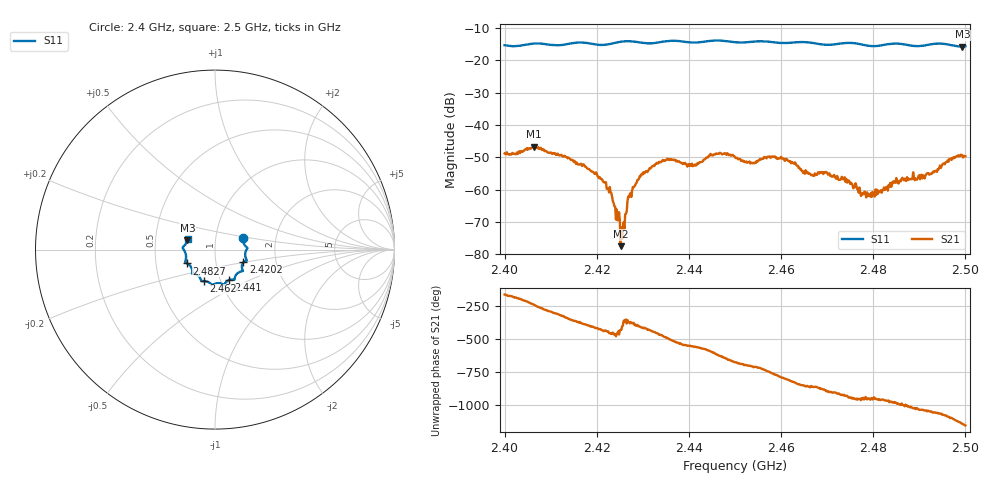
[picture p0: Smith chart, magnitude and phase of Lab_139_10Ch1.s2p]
# Hz S RI R 50
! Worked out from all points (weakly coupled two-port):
!   601 points, 2.4 GHz to 2.5 GHz, reference 50 ohm
!   highest |S21| = -46.79 dB at 2.4063 GHz (marker M1); lowest = -77.5 dB at 2.4252 GHz (marker M2)
!   lowest |S11| = -15.8 dB at 2.4993 GHz (marker M3), VSWR 1.39, Z = 36.5 + j3.84 ohm
!   |S11| at or under -10 dB: start of sweep to end of sweep
!   S12 and S22 are empty: the file has one direction only
!   S11 on the Smith chart (normalised r, x): 2.4 GHz: 1.36, +0.18; 2.4202 GHz: 1.36, -0.20; 2.441 GHz: 1.10, -0.39; 2.462 GHz: 0.84, -0.30; 2.4827 GHz: 0.72, -0.11; 2.5 GHz: 0.73, +0.09
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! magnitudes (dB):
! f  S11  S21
! 2.4 GHz  -15.4  -48.8
! 2.4063 GHz  -14.9  -46.8
! 2.4167 GHz  -14.5  -52.1
! 2.4202 GHz  -15.2  -55.9
! 2.4228 GHz  -15.0  -59.2
! 2.4252 GHz  -14.3  -77.5
! 2.4257 GHz  -14.2  -72.0
! 2.4268 GHz  -14.1  -62.2
! 2.4283 GHz  -14.3  -58.7
! 2.4333 GHz  -14.5  -51.9
! 2.441 GHz  -14.6  -52.6
! 2.4463 GHz  -13.9  -48.9
! 2.45 GHz  -14.4  -50.0
! 2.462 GHz  -14.6  -51.2
! 2.4667 GHz  -14.6  -55.5
! 2.4737 GHz  -14.7  -56.5
! 2.4788 GHz  -15.5  -62.0
! 2.4827 GHz  -15.2  -59.4
! 2.4833 GHz  -15.0  -58.6
! 2.4927 GHz  -15.1  -55.2
! 2.4993 GHz  -15.8  -49.5
! 2.5 GHz  -15.7  -49.7
